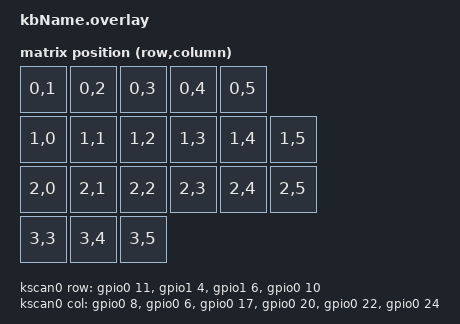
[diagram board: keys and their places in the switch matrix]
#include <dt-bindings/zmk/matrix_transform.h>

/ {
    chosen {
        zmk,matrix_transform = &default_transform;
    };

    kscan0: kscan {
        compatible = "zmk,kscan-gpio-matrix";

        diode-direction = "col2row";

        col-gpios =
            <&gpio0 8 GPIO_ACTIVE_HIGH>,   // P0 / D0
            <&gpio0 6 GPIO_ACTIVE_HIGH>,   // P1 / D1
            <&gpio0 17 GPIO_ACTIVE_HIGH>,  // P2 / D2
            <&gpio0 20 GPIO_ACTIVE_HIGH>,  // P3 / D3
            <&gpio0 22 GPIO_ACTIVE_HIGH>,  // P4 / D4
            <&gpio0 24 GPIO_ACTIVE_HIGH>;  // P5 / D5

        row-gpios =
            <&gpio0 11 (GPIO_ACTIVE_HIGH | GPIO_PULL_DOWN)>, // P6 / D6
            <&gpio1 4  (GPIO_ACTIVE_HIGH | GPIO_PULL_DOWN)>, // P7 / D7
            <&gpio1 6  (GPIO_ACTIVE_HIGH | GPIO_PULL_DOWN)>, // P8 / D8
            <&gpio0 10 (GPIO_ACTIVE_HIGH | GPIO_PULL_DOWN)>; // P9 / D9
    };

    default_transform: matrix_transform {
        compatible = "zmk,matrix-transform";

        columns = <6>;
        rows = <4>;

        map = <
            RC(0,1) RC(0,2) RC(0,3) RC(0,4) RC(0,5)

            RC(1,0) RC(1,1) RC(1,2) RC(1,3) RC(1,4) RC(1,5)

            RC(2,0) RC(2,1) RC(2,2) RC(2,3) RC(2,4) RC(2,5)

            RC(3,3) RC(3,4) RC(3,5)
        >;
    };
};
